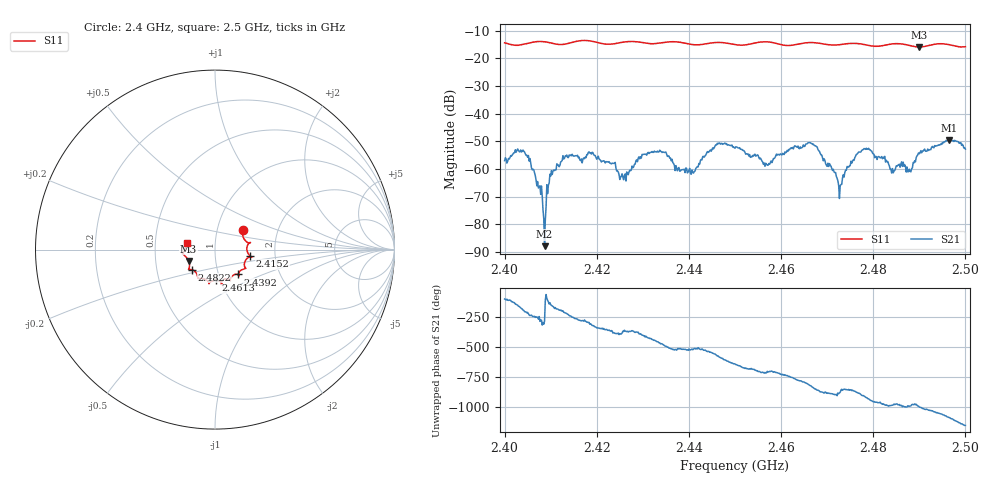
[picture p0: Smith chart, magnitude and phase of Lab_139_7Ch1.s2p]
# Hz S RI R 50
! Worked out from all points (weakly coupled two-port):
!   601 points, 2.4 GHz to 2.5 GHz, reference 50 ohm
!   highest |S21| = -49.53 dB at 2.4965 GHz (marker M1); lowest = -88.0 dB at 2.4087 GHz (marker M2)
!   lowest |S11| = -15.9 dB at 2.49 GHz (marker M3), VSWR 1.38, Z = 36.9 - j4.83 ohm
!   |S11| at or under -10 dB: start of sweep to end of sweep
!   S12 and S22 are empty: the file has one direction only
!   S11 on the Smith chart (normalised r, x): 2.4 GHz: 1.33, +0.30; 2.4152 GHz: 1.48, -0.11; 2.4392 GHz: 1.23, -0.35; 2.4613 GHz: 0.96, -0.34; 2.4822 GHz: 0.76, -0.17; 2.5 GHz: 0.73, +0.05
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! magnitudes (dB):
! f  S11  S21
! 2.4 GHz  -14.4  -57.0
! 2.4047 GHz  -14.7  -55.1
! 2.4087 GHz  -14.0  -88.0
! 2.4103 GHz  -14.6  -62.0
! 2.4152 GHz  -14.0  -55.4
! 2.4167 GHz  -13.6  -56.4
! 2.4255 GHz  -14.2  -61.8
! 2.4333 GHz  -14.6  -53.9
! 2.4392 GHz  -14.5  -61.3
! 2.4462 GHz  -14.3  -50.7
! 2.45 GHz  -15.0  -52.5
! 2.4567 GHz  -14.0  -58.0
! 2.4613 GHz  -15.4  -53.3
! 2.4667 GHz  -14.3  -50.8
! 2.4727 GHz  -15.1  -70.7
! 2.4775 GHz  -14.9  -53.3
! 2.4822 GHz  -15.4  -55.8
! 2.4833 GHz  -15.0  -58.3
! 2.488 GHz  -15.4  -60.9
! 2.49 GHz  -15.9  -54.6
! 2.4965 GHz  -15.1  -49.5
! 2.5 GHz  -15.8  -52.8
